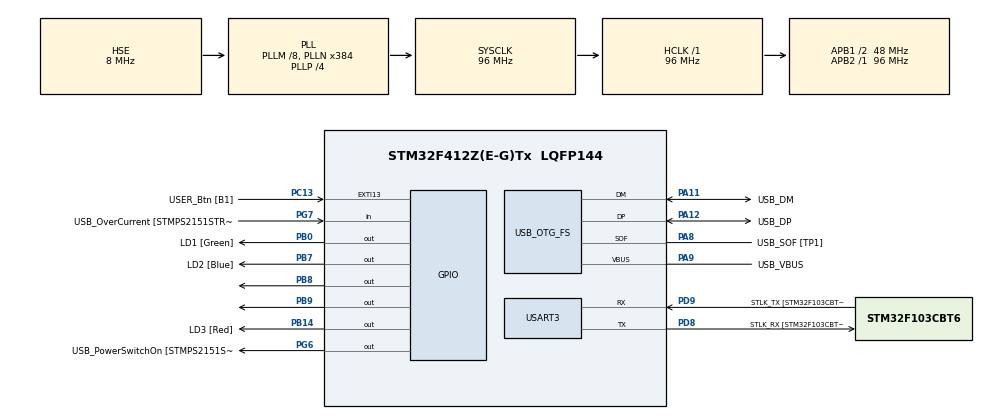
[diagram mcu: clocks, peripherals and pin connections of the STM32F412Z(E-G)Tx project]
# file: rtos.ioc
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FREERTOS.Tasks01=defaultTask,0,128,StartDefaultTask,Default,NULL,Dynamic,NULL,NULL;LED1,0,128,LED1_init,Default,NULL,Dynamic,NULL,NULL
Mcu.Family=STM32F4
Mcu.Name=STM32F412Z(E-G)Tx
Mcu.Package=LQFP144
NVIC.PriorityGroup=NVIC_PRIORITYGROUP_4
NVIC.TIM1_UP_TIM10_IRQn=true\:15\:0\:false\:false\:true\:false\:false\:true\:true
NVIC.TimeBase=TIM1_UP_TIM10_IRQn
NVIC.TimeBaseIP=TIM1
PA10.GPIO_Label=USB_ID
PA10.Signal=USB_OTG_FS_ID
PA11.GPIO_Label=USB_DM
PA11.Mode=Device_Only
PA11.Signal=USB_OTG_FS_DM
PA12.GPIO_Label=USB_DP
PA12.Mode=Device_Only
PA12.Signal=USB_OTG_FS_DP
PA13.GPIO_Label=TMS
PA13.Mode=Serial_Wire
PA13.Signal=SYS_JTMS-SWDIO
PA14.GPIO_Label=TCK
PA14.Mode=Serial_Wire
PA14.Signal=SYS_JTCK-SWCLK
PA8.GPIO_Label=USB_SOF [TP1]
PA8.Mode=Activate_SOF_FS
PA8.Signal=USB_OTG_FS_SOF
PA9.GPIO_Label=USB_VBUS
PA9.Mode=Activate_VBUS
PA9.Signal=USB_OTG_FS_VBUS
PB0.GPIO_Label=LD1 [Green]
PB0.Signal=GPIO_Output
PB14.GPIO_Label=LD3 [Red]
PB14.Signal=GPIO_Output
PB3.GPIO_Label=SWO
PB3.Signal=SYS_JTDO-SWO
PB7.GPIO_Label=LD2 [Blue]
PB7.Signal=GPIO_Output
PB8.Signal=GPIO_Output
PB9.Signal=GPIO_Output
PC13.GPIO_Label=USER_Btn [B1]
PC13.Signal=GPXTI13
PC14-OSC32_IN.Mode=LSE-External-Oscillator
PC14-OSC32_IN.Signal=RCC_OSC32_IN
PC15-OSC32_OUT.Mode=LSE-External-Oscillator
PC15-OSC32_OUT.Signal=RCC_OSC32_OUT
PD8.GPIO_Label=STLK_RX [STM32F103CBT6_PA3]
PD8.Mode=Asynchronous
PD8.Signal=USART3_TX
PD9.GPIO_Label=STLK_TX [STM32F103CBT6_PA2]
PD9.Mode=Asynchronous
PD9.Signal=USART3_RX
PG6.GPIO_Label=USB_PowerSwitchOn [STMPS2151STR_EN]
PG6.Signal=GPIO_Output
PG7.GPIO_Label=USB_OverCurrent [STMPS2151STR_FAULT]
PG7.Signal=GPIO_Input
PH0\ -\ OSC_IN.GPIO_Label=MCO
PH0\ -\ OSC_IN.Mode=HSE-External-Oscillator
PH0\ -\ OSC_IN.Signal=RCC_OSC_IN
PH1\ -\ OSC_OUT.Mode=HSE-External-Oscillator
PH1\ -\ OSC_OUT.Signal=RCC_OSC_OUT
ProjectManager.HeapSize=0x200
ProjectManager.StackSize=0x400
ProjectManager.TargetToolchain=CMake
RCC.48MHZClocksFreq_Value=24000000
RCC.AHBFreq_Value=96000000
RCC.APB1CLKDivider=RCC_HCLK_DIV2
RCC.APB1Freq_Value=48000000
RCC.APB1TimFreq_Value=96000000
RCC.APB2Freq_Value=96000000
RCC.APB2TimFreq_Value=96000000
RCC.CortexFreq_Value=96000000
RCC.HCLKFreq_Value=96000000
RCC.HSE_VALUE=8000000
RCC.HSI_VALUE=16000000
RCC.PLLM=8
RCC.PLLMUL=RCC_PLL_MUL9
RCC.PLLN=384
RCC.PLLP=RCC_PLLP_DIV4
RCC.PLLQ=8
RCC.PRESCALERUSB=RCC_USBCLKSOURCE_PLL_DIV1_5
RCC.SYSCLKFreq_VALUE=96000000
RCC.SYSCLKSource=RCC_SYSCLKSOURCE_PLLCLK
RCC.SYSCLKSourceVirtual=RCC_SYSCLKSOURCE_PLLCLK
RCC.USBFreq_Value=48000000
RCC.VCOOutputFreq_Value=384000000
USART3.VirtualMode=VM_ASYNC
USB_OTG_FS.VirtualMode=Device_Only
VP_FREERTOS_VS_CMSIS_V1.Mode=CMSIS_V1
VP_SYS_VS_tim1.Mode=TIM1
board=NUCLEO-F412ZG

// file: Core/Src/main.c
/* USER CODE BEGIN Header */
/**
  ******************************************************************************
  * @file           : main.c
  * @brief          : Main program body
  ******************************************************************************
  * @attention
  *
  * Copyright (c) 2025 STMicroelectronics.
  * All rights reserved.
  *
  * This software is licensed under terms that can be found in the LICENSE file
  * in the root directory of this software component.
  * If no LICENSE file comes with this software, it is provided AS-IS.
  *
  ******************************************************************************
  */
/* USER CODE END Header */
#include "main.h"
#include "cmsis_os.h"
#include "usart.h"
#include "usb_otg.h"
#include "gpio.h"

void SystemClock_Config(void);
void MX_FREERTOS_Init(void);

int main(void)
{

  /* MCU Configuration--------------------------------------------------------*/

  /* Reset of all peripherals, Initializes the Flash interface and the Systick. */
  HAL_Init();

  /* Configure the system clock */
  SystemClock_Config();

  /* Initialize all configured peripherals */
  MX_GPIO_Init();
  MX_USART3_UART_Init();
  MX_USB_OTG_FS_PCD_Init();

  /* Call init function for freertos objects (in cmsis_os2.c) */
  MX_FREERTOS_Init();

  /* Start scheduler */
  osKernelStart();

  /* We should never get here as control is now taken by the scheduler */

  /* Infinite loop */
  while (1)
  {

	HAL_UART_Transmit(&huart3, (uint8_t *)"Hello from main loop\r\n", 22, HAL_MAX_DELAY);

  }
}

void SystemClock_Config(void)
{
  RCC_OscInitTypeDef RCC_OscInitStruct = {0};
  RCC_ClkInitTypeDef RCC_ClkInitStruct = {0};

  /** Configure the main internal regulator output voltage
  */
  __HAL_RCC_PWR_CLK_ENABLE();
  __HAL_PWR_VOLTAGESCALING_CONFIG(PWR_REGULATOR_VOLTAGE_SCALE1);

  /** Initializes the RCC Oscillators according to the specified parameters
  * in the RCC_OscInitTypeDef structure.
  */
  RCC_OscInitStruct.OscillatorType = RCC_OSCILLATORTYPE_HSE;
  RCC_OscInitStruct.HSEState = RCC_HSE_ON;
  RCC_OscInitStruct.PLL.PLLState = RCC_PLL_ON;
  RCC_OscInitStruct.PLL.PLLSource = RCC_PLLSOURCE_HSE;
  RCC_OscInitStruct.PLL.PLLM = 8;
  RCC_OscInitStruct.PLL.PLLN = 384;
  RCC_OscInitStruct.PLL.PLLP = RCC_PLLP_DIV4;
  RCC_OscInitStruct.PLL.PLLQ = 8;
  RCC_OscInitStruct.PLL.PLLR = 2;
  if (HAL_RCC_OscConfig(&RCC_OscInitStruct) != HAL_OK)
  {
    Error_Handler();
  }

  /** Initializes the CPU, AHB and APB buses clocks
  */
  RCC_ClkInitStruct.ClockType = RCC_CLOCKTYPE_HCLK|RCC_CLOCKTYPE_SYSCLK
                              |RCC_CLOCKTYPE_PCLK1|RCC_CLOCKTYPE_PCLK2;
  RCC_ClkInitStruct.SYSCLKSource = RCC_SYSCLKSOURCE_PLLCLK;
  RCC_ClkInitStruct.AHBCLKDivider = RCC_SYSCLK_DIV1;
  RCC_ClkInitStruct.APB1CLKDivider = RCC_HCLK_DIV2;
  RCC_ClkInitStruct.APB2CLKDivider = RCC_HCLK_DIV1;

  if (HAL_RCC_ClockConfig(&RCC_ClkInitStruct, FLASH_LATENCY_3) != HAL_OK)
  {
    Error_Handler();
  }
}

void HAL_TIM_PeriodElapsedCallback(TIM_HandleTypeDef *htim)
{
  if (htim->Instance == TIM1)
  {
    HAL_IncTick();
  }
}

void Error_Handler(void)
{
  __disable_irq();
  while (1)
  {
  }
}

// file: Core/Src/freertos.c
/*

This code is part of a project that implements a simple health monitoring system using
machine learning models (Logistic Regression, Decision Tree, and KNN) on an STM32 microcontroller using FreeRTOS.

Google Colab link for models: https://colab.research.google.com/drive/1ZQqohtJSYoM6jttgKan2qIDlMB0ZFQ_j?usp=sharing

*/

/* USER CODE BEGIN Header */
/**
 ******************************************************************************
 * File Name          : freertos.c
 * Description        : Code for freertos applications
 ******************************************************************************
 * @attention
 *
 * Copyright (c) 2025 STMicroelectronics.
 * All rights reserved.
 *
 * This software is licensed under terms that can be found in the LICENSE file
 * in the root directory of this software component.
 * If no LICENSE file comes with this software, it is provided AS-IS.
 *
 ******************************************************************************
 */
/* USER CODE END Header */

#include "FreeRTOS.h"
#include "task.h"
#include "main.h"
#include "cmsis_os.h"
#include <stdio.h>
#include <math.h>
#include <float.h>

#include "semphr.h"

/* USER CODE BEGIN PD */

#define NUM_FEATURES 3
#define NUM_CLASSES 3
#define NUM_TRAINING_SAMPLES 5 // Example number of training samples

/* USER CODE END PD */

/* USER CODE BEGIN Variables */

SemaphoreHandle_t buttonSemaphore;
extern UART_HandleTypeDef huart3;

// Pre-trained Logistic Regression weights and biases
float lr_weights[NUM_CLASSES][NUM_FEATURES] = {
	{0.1f, -0.05f, 0.02f},	 // Class 0 weights (e.g., Low Risk)
	{-0.03f, 0.08f, -0.01f}, // Class 1 weights (e.g., Medium Risk)
	{-0.07f, 0.12f, 0.05f}	 // Class 2 weights (e.g., High Risk)
};

float lr_biases[NUM_CLASSES] = {-0.5f, 0.2f, 0.8f};

// Pre-fed training data for KNN (example)
typedef struct
{
	float features[NUM_FEATURES];
	int label;
} KNN_Sample;

KNN_Sample knn_training_data[NUM_TRAINING_SAMPLES] = {
	{{120.0f, 70.0f, 36.5f}, 0},
	{{140.0f, 85.0f, 37.2f}, 1},
	{{160.0f, 95.0f, 38.0f}, 2},
	{{110.0f, 65.0f, 36.0f}, 0},
	{{135.0f, 80.0f, 37.0f}, 1}};

#define KNN_K 3 // Number of neighbors for KNN

/* USER CODE END Variables */
osThreadId LED1Handle;
osThreadId LED2Handle;
osThreadId LED3Handle;
osThreadId InferencingHandle;

/* USER CODE BEGIN FunctionPrototypes */

// Function prototypes for Decision Tree
int predict_dt(float features[NUM_FEATURES]);

// Function prototypes for Logistic Regression
int predict_lr(float features[NUM_FEATURES]);
void softmax(float *logits, float *probabilities, int num_classes);

// Function prototypes for KNN
int predict_knn(float features[NUM_FEATURES]);
float euclidean_distance(float *v1, float *v2, int length);

void HAL_GPIO_EXTI_Callback(uint16_t GPIO_Pin)
{
	if (GPIO_Pin == USER_Btn_Pin)
	{
		BaseType_t xHigherPriorityTaskWoken = pdFALSE;
		xSemaphoreGiveFromISR(buttonSemaphore, &xHigherPriorityTaskWoken);
		portYIELD_FROM_ISR(xHigherPriorityTaskWoken);
	}
}

/* USER CODE END FunctionPrototypes */

void LED1_init(void const *argument);
void LED2_init(void const *argument);
void LED3_init(void const *argument);
void InferencingTask(void const *argument);

void MX_FREERTOS_Init(void); /* (MISRA C 2004 rule 8.1) */

/* GetIdleTaskMemory prototype (linked to static allocation support) */
void vApplicationGetIdleTaskMemory(StaticTask_t **ppxIdleTaskTCBBuffer, StackType_t **ppxIdleTaskStackBuffer, uint32_t *pulIdleTaskStackSize);

/* USER CODE BEGIN GET_IDLE_TASK_MEMORY */
static StaticTask_t xIdleTaskTCBBuffer;
static StackType_t xIdleStack[configMINIMAL_STACK_SIZE];

void vApplicationGetIdleTaskMemory(StaticTask_t **ppxIdleTaskTCBBuffer, StackType_t **ppxIdleTaskStackBuffer, uint32_t *pulIdleTaskStackSize)
{
	*ppxIdleTaskTCBBuffer = &xIdleTaskTCBBuffer;
	*ppxIdleTaskStackBuffer = &xIdleStack[0];
	*pulIdleTaskStackSize = configMINIMAL_STACK_SIZE;
	/* place for user code */
}
/* USER CODE END GET_IDLE_TASK_MEMORY */

void MX_FREERTOS_Init(void)
{

	/* USER CODE BEGIN RTOS_SEMAPHORES */
	/* add semaphores, ... */
	/* Create the binary semaphore */
	buttonSemaphore = xSemaphoreCreateBinary();
	/* USER CODE END RTOS_SEMAPHORES */

	/* Create the thread(s) */
	/* definition and creation of LED1 */
	osThreadDef(LED1, LED1_init, osPriorityNormal, 0, 128);
	LED1Handle = osThreadCreate(osThread(LED1), NULL);

	/* definition and creation of LED2 */
	osThreadDef(LED2, LED2_init, osPriorityNormal, 0, 128);
	LED2Handle = osThreadCreate(osThread(LED2), NULL);

	/* definition and creation of LED3 */
	osThreadDef(LED3, LED3_init, osPriorityNormal, 0, 128);
	LED3Handle = osThreadCreate(osThread(LED3), NULL);

	/* definition and creation of Inferencing */
	osThreadDef(Inferencing, InferencingTask, osPriorityHigh, 0, 256);
	InferencingHandle = osThreadCreate(osThread(Inferencing), NULL);

}

void LED1_init(void const *argument)
{
	/* USER CODE BEGIN LED1_init */
	/* Infinite loop */
	for (;;)
	{
		HAL_GPIO_TogglePin(LD1_GPIO_Port, LD1_Pin); // Toggle LED1
		osDelay(500);
	}
	/* USER CODE END LED1_init */
}

/* USER CODE BEGIN Header_LED2_init */
void LED2_init(void const *argument)
{
	/* USER CODE BEGIN LED2_init */
	/* Infinite loop */
	for (;;)
	{
		HAL_GPIO_TogglePin(LD2_GPIO_Port, LD2_Pin); // Toggle LED2
		osDelay(1000);
	}
	/* USER CODE END LED2_init */
}

/* USER CODE BEGIN Header_LED3_init */
void LED3_init(void const *argument)
{
	/* USER CODE BEGIN LED3_init */
	/* Infinite loop */
	for (;;)
	{
		HAL_GPIO_TogglePin(LD3_GPIO_Port, LD3_Pin); // Toggle LED3
		osDelay(2000);
	}
	/* USER CODE END LED3_init */
}

void InferencingTask(void const *argument)
{
	char msg[64];
	const char *risk_levels[] = {"low risk", "medium risk", "high risk"};
	float sample_features[NUM_FEATURES] = {130.0f, 75.0f, 37.0f}; // Example pre-fed data

	for (;;)
	{
		if (xSemaphoreTake(buttonSemaphore, portMAX_DELAY) == pdTRUE)
		{
			// Display Input Features
			snprintf(msg, sizeof(msg), "Sample Data:\r\n");
			HAL_UART_Transmit(&huart3, (uint8_t *)msg, strlen(msg), HAL_MAX_DELAY);
			snprintf(msg, sizeof(msg), "Systolic: 130, Diastolic: 75, Temperature: 37\r\n");
			HAL_UART_Transmit(&huart3, (uint8_t *)msg, strlen(msg), HAL_MAX_DELAY);

			// Choose which model to run: Logistic Regression, Decision Tree or KNN
			int predicted_class_dt = predict_dt(sample_features);
			// Map the prediction to a risk level string and send it via UART
			snprintf(msg, sizeof(msg), "DT Prediction: Class %d (%s)\r\n", predicted_class_dt, risk_levels[predicted_class_dt]);
			HAL_UART_Transmit(&huart3, (uint8_t *)msg, strlen(msg), HAL_MAX_DELAY);
			osDelay(1000);

			int predicted_class_lr = predict_lr(sample_features);
			// Map the prediction to a risk level string and send it via UART
			snprintf(msg, sizeof(msg), "LR Prediction: Class %d (%s)\r\n", predicted_class_lr, risk_levels[predicted_class_lr]);
			HAL_UART_Transmit(&huart3, (uint8_t *)msg, strlen(msg), HAL_MAX_DELAY);
			osDelay(1000);

			int predicted_class_knn = predict_knn(sample_features);
			// Map the prediction to a risk level string and send it via UART
			snprintf(msg, sizeof(msg), "KNN Prediction: Class %d (%s)\r\n\r\n", predicted_class_knn, risk_levels[predicted_class_knn]);
			HAL_UART_Transmit(&huart3, (uint8_t *)msg, strlen(msg), HAL_MAX_DELAY);
			osDelay(1000);

			/*
			command to see UART output in terminal:
			$ sudo minicom -b 115200 -D ${serial_port}
			$ sudo minicom -b 115200 -D /dev/ttyACM0
			*/
		}
	}
}

// Decision Tree Prediction Function
int predict_dt(float sample_features[NUM_FEATURES])
{
	float systolic = sample_features[0];
	float diastolic = sample_features[1];
	float temperature = sample_features[2];

	if (systolic < 125.0f)
	{
		if (temperature < 37.2f)
		{
			return 0; // Low Risk
		}
		else
		{
			return 1; // Medium Risk due to temperature
		}
	}
	else if (systolic < 145.0f)
	{
		if (diastolic < 85.0f)
		{
			return 1; // Medium Risk
		}
		else
		{
			if (temperature >= 38.0f)
			{
				return 2; // High Risk due to temp and pressure
			}
			else
			{
				return 1; // Medium Risk
			}
		}
	}
	else
	{
		if (diastolic >= 90.0f || temperature >= 38.0f)
		{
			return 2; // High Risk
		}
		else
		{
			return 1; // Still Medium Risk
		}
	}
}

// Logistic Regression Prediction Function
int predict_lr(float features[NUM_FEATURES])
{
	float logits[NUM_CLASSES];
	float probabilities[NUM_CLASSES];

	for (int i = 0; i < NUM_CLASSES; i++)
	{
		logits[i] = lr_biases[i];
		for (int j = 0; j < NUM_FEATURES; j++)
		{
			logits[i] += lr_weights[i][j] * features[j];
		}
	}

	softmax(logits, probabilities, NUM_CLASSES);

	int predicted_class = 0;
	float max_prob = probabilities[0];
	for (int i = 1; i < NUM_CLASSES; i++)
	{
		if (probabilities[i] > max_prob)
		{
			max_prob = probabilities[i];
			predicted_class = i;
		}
	}
	return predicted_class;
}

// Softmax Function
void softmax(float *logits, float *probabilities, int num_classes)
{
	float sum_exp = 0.0f;
	float max_logit = logits[0];
	for (int i = 1; i < num_classes; i++)
	{
		if (logits[i] > max_logit)
		{
			max_logit = logits[i];
		}
	}
	for (int i = 0; i < num_classes; i++)
	{
		probabilities[i] = expf(logits[i] - max_logit);
		sum_exp += probabilities[i];
	}
	for (int i = 0; i < num_classes; i++)
	{
		probabilities[i] /= sum_exp;
	}
}

// KNN Prediction Function
int predict_knn(float features[NUM_FEATURES])
{
	float distances[NUM_TRAINING_SAMPLES];
	for (int i = 0; i < NUM_TRAINING_SAMPLES; i++)
	{
		distances[i] = euclidean_distance(features, knn_training_data[i].features, NUM_FEATURES);
	}

	// Find the indices of the k smallest distances
	int nearest_neighbors_labels[KNN_K];
	float sorted_distances[KNN_K];
	int sorted_indices[KNN_K];

	// Initialize with a large value
	for (int i = 0; i < KNN_K; i++)
	{
		sorted_distances[i] = FLT_MAX;
		sorted_indices[i] = -1;
	}

	for (int i = 0; i < NUM_TRAINING_SAMPLES; i++)
	{
		for (int j = 0; j < KNN_K; j++)
		{
			if (distances[i] < sorted_distances[j])
			{
				// Shift larger distances to the right
				for (int k = KNN_K - 1; k > j; k--)
				{
					sorted_distances[k] = sorted_distances[k - 1];
					sorted_indices[k] = sorted_indices[k - 1];
				}
				sorted_distances[j] = distances[i];
				sorted_indices[j] = i;
				break;
			}
		}
	}

	// Count the occurrences of each class among the nearest neighbors
	int class_counts[NUM_CLASSES] = {0};
	for (int i = 0; i < KNN_K; i++)
	{
		if (sorted_indices[i] != -1)
		{
			class_counts[knn_training_data[sorted_indices[i]].label]++;
		}
	}

	// Find the class with the maximum count
	int predicted_class = 0;
	int max_count = class_counts[0];
	for (int i = 1; i < NUM_CLASSES; i++)
	{
		if (class_counts[i] > max_count)
		{
			max_count = class_counts[i];
			predicted_class = i;
		}
	}
	return predicted_class;
}

// Euclidean Distance Function
float euclidean_distance(float *v1, float *v2, int length)
{
	float sum = 0.0f;
	for (int i = 0; i < length; i++)
	{
		sum += (v1[i] - v2[i]) * (v1[i] - v2[i]);
	}
	return sqrtf(sum);
}
